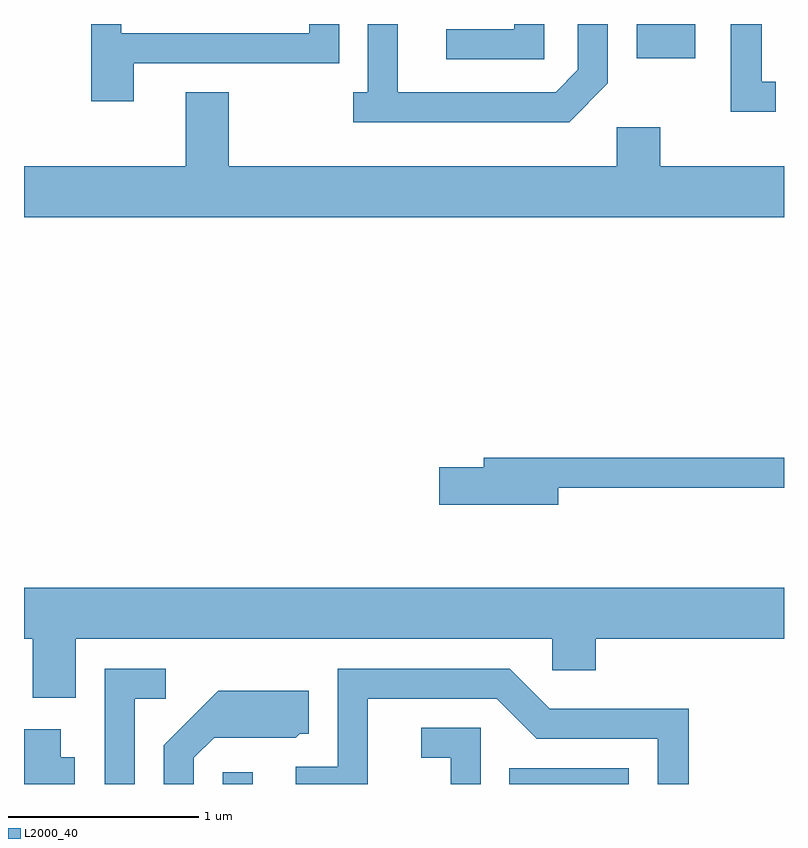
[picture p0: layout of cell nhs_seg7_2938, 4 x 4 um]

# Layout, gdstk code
import gdstk
lib = gdstk.Library(unit=1e-6, precision=1e-09)
def R(c, l, rs):  # rectangles x0, y0, x1, y1
    for r in rs: c.add(gdstk.rectangle(r[:2], r[2:], *l))
def P(c, l, *ps):  # polygons
    for p in ps: c.add(gdstk.Polygon(p, *l))
L2000_40 = (2000, 40)

nhs_seg7_2938 = lib.new_cell('nhs_seg7_2938')
R(nhs_seg7_2938, L2000_40, [(276.656,1680.252,276.814,1680.313), (278.166,1680.252,278.794,1680.334), (278.836,1684.071,279.144,1684.252)])
P(nhs_seg7_2938, L2000_40, [(278.684,1683.939),(278.684,1684.252),(278.526,1684.252),(278.526,1684.012),(278.409,1683.894),(277.579,1683.894),(277.579,1684.252),(277.421,1684.252),(277.421,1683.894),(277.343,1683.894),(277.343,1683.736),(278.482,1683.736)],
  [(278.349,1684.252),(278.191,1684.252),(278.191,1684.224),(277.833,1684.224),(277.833,1684.066),(278.349,1684.066)],
  [(276.189,1684.046),(277.269,1684.046),(277.269,1684.252),(277.111,1684.252),(277.111,1684.204),(276.124,1684.204),(276.124,1684.252),(275.966,1684.252),(275.966,1683.846),(276.189,1683.846)],
  [(279.568,1683.949),(279.494,1683.949),(279.494,1684.252),(279.331,1684.252),(279.331,1683.791),(279.568,1683.791)],
  [(279.611,1683.504),(278.959,1683.504),(278.959,1683.709),(278.731,1683.709),(278.731,1683.504),(276.689,1683.504),(276.689,1683.894),(276.461,1683.894),(276.461,1683.504),(275.611,1683.504),(275.611,1683.236),(279.611,1683.236)],
  [(278.424,1681.811),(279.611,1681.811),(279.611,1681.969),(278.031,1681.969),(278.031,1681.919),(277.796,1681.919),(277.796,1681.721),(278.424,1681.721)],
  [(275.884,1681.016),(278.391,1681.016),(278.391,1680.851),(278.619,1680.851),(278.619,1681.016),(279.611,1681.016),(279.611,1681.284),(275.611,1681.284),(275.611,1681.016),(275.656,1681.016),(275.656,1680.706),(275.884,1680.706)],
  [(276.194,1680.701),(276.358,1680.701),(276.358,1680.859),(276.036,1680.859),(276.036,1680.252),(276.194,1680.252)],
  [(277.419,1680.701),(278.099,1680.701),(278.309,1680.491),(278.946,1680.491),(278.946,1680.252),(279.109,1680.252),(279.109,1680.649),(278.377,1680.649),(278.167,1680.859),(277.261,1680.859),(277.261,1680.344),(277.041,1680.344),(277.041,1680.252),(277.419,1680.252)],
  [(276.504,1680.389),(276.612,1680.496),(277.042,1680.496),(277.062,1680.516),(277.109,1680.516),(277.109,1680.744),(276.634,1680.744),(276.346,1680.457),(276.346,1680.252),(276.504,1680.252)],
  [(278.014,1680.549),(277.703,1680.549),(277.703,1680.391),(277.856,1680.391),(277.856,1680.252),(278.014,1680.252)],
  [(275.879,1680.394),(275.804,1680.394),(275.804,1680.539),(275.611,1680.539),(275.611,1680.252),(275.879,1680.252)])

lib.write_gds('nhs_seg7_2938.gds')
